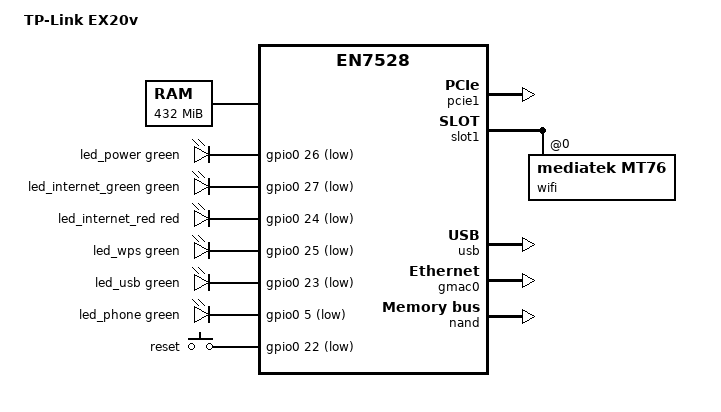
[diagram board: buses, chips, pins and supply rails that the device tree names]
// SPDX-License-Identifier: (GPL-2.0-only OR BSD-2-Clause)
/dts-v1/;

#include "en7528.dtsi"

#include <dt-bindings/gpio/gpio.h>
#include <dt-bindings/input/input.h>
#include <dt-bindings/leds/common.h>

/ {
	model = "TP-Link EX20v";
	compatible = "tplink,ex20v", "econet,en7528";

	aliases {
		serial0 = &uart;
		led-boot = &led_power;
		led-failsafe = &led_power;
		led-running = &led_power;
		led-upgrade = &led_power;
	};

	memory@0 {
		device_type = "memory";
		/*
		 * The board has 512 MB DRAM, but the low-memory window only
		 * exposes 432 MB (0x1b000000) before the SoC I/O registers at
		 * 0x1f600000+. Declaring more overlaps the MMIO and makes every
		 * driver fail with -EBUSY. Matches the stock kernel's
		 * "memory: 1affe000 @ 00002000".
		 */
		reg = <0x00000000 0x1b000000>;
	};

	chosen {
		stdout-path = "serial0:115200n8";
		/* Low 0x20000 is reserved for the bootloader/exception vectors. */
		linux,usable-memory-range = <0x00020000 0x1afe0000>;
		/* squashfs rootfs + ubifs overlay live on the "ubi" MTD. */
		bootargs = "ubi.mtd=ubi";
	};

	leds {
		compatible = "gpio-leds";

		/*
		 * GPIO map verified on hardware with a GPIO-probe script
		 * (toggle each line, observe the front panel). All lines are
		 * assumed active-low (TP-Link's usual convention; the power
		 * pin idles at 0 while the LED is lit when the device is on,
		 * confirming active-low). If any line lights up inverted
		 * after flashing, switch it to GPIO_ACTIVE_HIGH.
		 * There is no 2.4/5 GHz Wi-Fi LED node here: those are driven
		 * by the mt76 Wi-Fi chip itself.
		 */
		led_power: power {
			color = <LED_COLOR_ID_GREEN>;
			function = LED_FUNCTION_POWER;
			gpios = <&gpio0 26 GPIO_ACTIVE_LOW>;
		};

		/* Two-color internet LED, one physical LED: green when
		 * online, red when not. The color switch is driven from
		 * userspace (a led-status daemon that finds the online LED
		 * by name; green:wan-online on this board). */
		led_internet_green: internet-green {
			color = <LED_COLOR_ID_GREEN>;
			function = LED_FUNCTION_WAN_ONLINE;
			gpios = <&gpio0 27 GPIO_ACTIVE_LOW>;
		};

		led_internet_red: internet-red {
			color = <LED_COLOR_ID_RED>;
			function = LED_FUNCTION_WAN;
			gpios = <&gpio0 24 GPIO_ACTIVE_LOW>;
		};

		led_wps: wps {
			color = <LED_COLOR_ID_GREEN>;
			function = LED_FUNCTION_WPS;
			gpios = <&gpio0 25 GPIO_ACTIVE_LOW>;
		};

		led_usb: usb {
			color = <LED_COLOR_ID_GREEN>;
			function = LED_FUNCTION_USB;
			gpios = <&gpio0 23 GPIO_ACTIVE_LOW>;
			/* An "usbport" trigger can be added via uci after flashing. */
		};

		led_phone: phone {
			color = <LED_COLOR_ID_GREEN>;
			function = "phone";
			gpios = <&gpio0 5 GPIO_ACTIVE_LOW>;
		};
	};

	keys {
		compatible = "gpio-keys-polled";
		poll-interval = <20>;

		/*
		 * Button GPIO and polarity verified on hardware: reset =
		 * gpio0 22, active-low (idle high, low when pressed). EcoNet
		 * GPIOs have no IRQ support here, hence polled. No separate
		 * WPS/Wi-Fi button was found wired to a GPIO on this board.
		 */
		key-reset {
			label = "reset";
			gpios = <&gpio0 22 GPIO_ACTIVE_LOW>;
			linux,code = <KEY_RESTART>;
		};
	};
};

/*
 * The Wi-Fi is a single MT7915 DBDC chip (0x7915 on pcie1) that serves BOTH
 * the 2.4 GHz and 5 GHz bands by itself (phy0 + phy1). The 0x7916 endpoint on
 * pcie0 is that chip's HIF2 -- a second PCIe path that only offloads band DMA
 * for extra throughput, not a separate radio/band. mt7915e unconditionally
 * pairs any 0x7916 as a cross-device HIF2 and hangs doing so across these two
 * independent PCIe root complexes, so pcie0 is left disabled. Both bands work
 * fully without it; enabling it would need driver work for the cross-RC HIF2.
 */
&pcie0 {
	status = "disabled";
};

&pcie1 {
	status = "okay";
};

&slot1 {
	status = "okay";

	wifi@0,0 {
		compatible = "mediatek,mt76";
		reg = <0x0000 0 0 0 0>;
		/*
		 * MT7915 DBDC: EEPROM/cal from the flash "radio" partition, MAC
		 * from the romfile base. Exposes phy0 (2.4 GHz) and phy1 (5 GHz).
		 */
		nvmem-cells = <&eeprom_radio>, <&macaddr_romfile 1>;
		nvmem-cell-names = "eeprom", "mac-address";
	};
};

&usb {
	status = "okay";

	/*
	 * The EX20v exposes a single USB 2.0 port. The EN7528 xHCI IP is
	 * SuperSpeed-capable in silicon (2x U2 + 1x U3 root ports), but the
	 * board wires no USB 3.0 connector, so mask the phantom U3 port: it
	 * stays powered down instead of advertising a dead SuperSpeed link
	 * (no U3 LTSSM link training on unconnected pins, small power saving).
	 * The U2 ports are left untouched so the real USB2 port keeps working
	 * (the second, unwired U2 port is harmless -- it just stays empty).
	 */
	mediatek,u3p-dis-msk = <0x1>;
};

&gmac0 {
	status = "okay";
	nvmem-cells = <&macaddr_romfile 0>;
	nvmem-cell-names = "mac-address";
};

/*
 * EX20v has no external MT7530: the physical LAN/WAN ports sit on the
 * SoC-internal GSW itself, at the same register layout the external MT7530
 * chip uses elsewhere in this target. Port map confirmed on hardware by PMSR
 * link probing (plugging/unplugging each labeled port and watching which
 * switch port number showed link): LAN1=3, LAN2=2, LAN3=1, WAN=4, CPU=6.
 */
&ethernet {
	econet,int-gsw-vlan-split;
	econet,int-gsw-cpu-port = <6>;
	econet,int-gsw-lan-ports = <1 2 3>;
	econet,int-gsw-wan-port = <4>;
	econet,int-gsw-wan-vid = <35>;
};

&nand {
	status = "okay";
	econet,bmt;
	econet,bbt-table-size = <163>;	/* "bmt pool size: 163" from stock bootlog */

	partitions: partitions {
		compatible = "fixed-partitions";
		#address-cells = <1>;
		#size-cells = <1>;

		/*
		 * The free bootbase has TWO hardcoded kernel-tag slots and picks one
		 * from an external "boot flag" (verified on hardware from the stock
		 * bootlog: "boot flag = 1  g_kernel_tag_start = 0x2980000"): flag 0 ->
		 * master 0x380000, flag 1 -> slave 0x2980000. The flag lives outside the
		 * tag (the stock master/slave tags are byte-identical in every
		 * version/priority field) and is stable -- it never flipped across
		 * repeated failed boots and nothing in OpenWrt writes it. This board
		 * ships and stays on flag 1, so the "kernel" partition IS the slave slot
		 * at 0x2980000, and UBI starts immediately after it at 0x2f80000. That
		 * keeps the slot the bootbase actually reads exactly where sysupgrade
		 * (CI_KERNPART=kernel) writes it, and keeps the UBI partition clear of
		 * the kernel slot so wear-leveling can never scribble over the running
		 * kernel (the earlier "kernel@0x380000 + ubi@0x980000" layout booted by
		 * luck but let UBI overlap the live slave kernel).
		 *
		 * The stock master slot (0x380000-0x2980000, 38 MB) is left
		 * unpartitioned; the flag never selects it. UBI has no econet,enable-remap
		 * so it does its own bad-block management; econet,bmt only applies the
		 * existing factory bad-block map. Top 64 MB (0x1c000000+) is the BMT pool.
		 *
		 *   0x000000  -0x040000    boot     (256 KB, ro)
		 *   0x040000  -0x140000    romfile  (1 MB, ro)   base MAC @0x2000
		 *   0x140000  -0x340000    config   (2 MB)
		 *   0x340000  -0x380000    radio    (256 KB, ro) Wi-Fi EEPROM @0x0
		 *   0x380000  -0x2980000   (unpartitioned, stock master slot, unused)
		 *   0x2980000 -0x2f80000   kernel   (6 MB, slave slot, raw tag + LZMA)
		 *   0x2f80000 -0x1c000000  ubi      (~402 MB)
		 *   0x1c000000-0x20000000  (unpartitioned, BMT pool)
		 */
		partition@0 {
			label = "boot";
			reg = <0x0 0x40000>;
			read-only;
		};

		partition@40000 {
			label = "romfile";
			reg = <0x40000 0x100000>;
			read-only;

			nvmem-layout {
				compatible = "fixed-layout";
				#address-cells = <1>;
				#size-cells = <1>;

				/*
				 * Base MAC 98:25:4A:19:FE:56, binary, confirmed in the
				 * stock romfile dump. eth0 = base+0, label = base+2.
				 */
				macaddr_romfile: macaddr@2000 {
					compatible = "mac-base";
					reg = <0x2000 0x6>;
					#nvmem-cell-cells = <1>;
				};
			};
		};

		partition@140000 {
			label = "config";
			reg = <0x140000 0x200000>;
		};

		radio: partition@340000 {
			label = "radio";
			reg = <0x340000 0x40000>;
			read-only;

			nvmem-layout {
				compatible = "fixed-layout";
				#address-cells = <1>;
				#size-cells = <1>;

				/*
				 * MT7915 DBDC EEPROM: chip id 0x7915 at offset 0,
				 * 0xe00 (3584) bytes, matching mt7915_eeprom_dbdc.bin.
				 * Efuse is blank on this board, so cal reads from here.
				 */
				eeprom_radio: eeprom@0 {
					reg = <0x0 0xe00>;
				};
			};
		};

		/* Active boot slot (slave, flag=1): raw 55aa tag + LZMA, read by the bootbase. */
		partition@2980000 {
			label = "kernel";
			reg = <0x2980000 0x600000>;
			econet,enable-remap;
		};

		/* squashfs rootfs + ubifs overlay, immediately after the kernel slot. */
		partition@2f80000 {
			label = "ubi";
			reg = <0x2f80000 0x19080000>;
		};
	};
};
